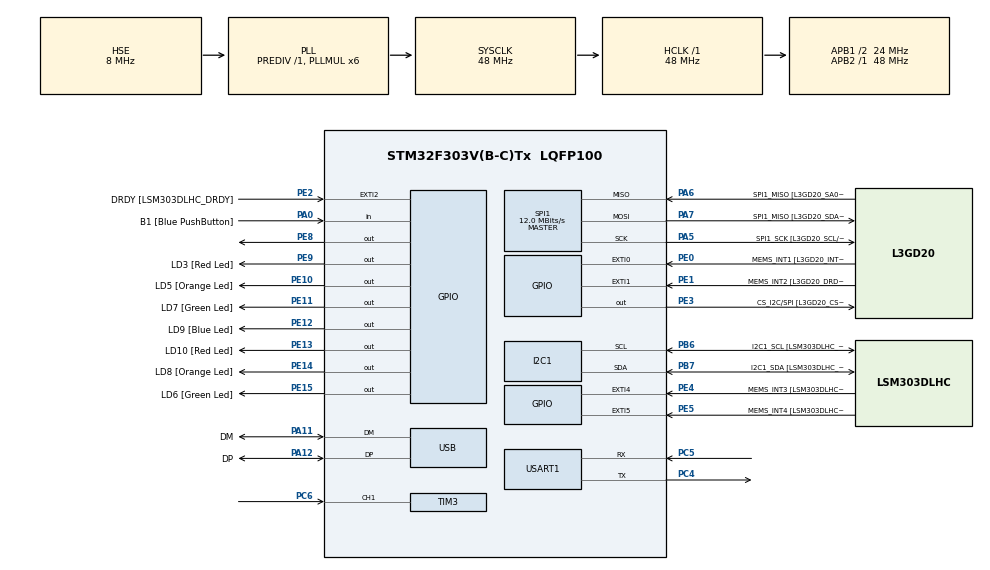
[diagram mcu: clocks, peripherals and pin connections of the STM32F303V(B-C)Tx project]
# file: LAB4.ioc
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I2C1.Timing=0x00201D2B
I2C1.Timing-I2C=0x2000090E
Mcu.Family=STM32F3
Mcu.Name=STM32F303V(B-C)Tx
Mcu.Package=LQFP100
NVIC.PriorityGroup=NVIC_PRIORITYGROUP_0
NVIC.TIM2_IRQn=true\:0\:0\:false\:false\:true\:true\:true\:true
NVIC.TIM3_IRQn=true\:0\:0\:false\:false\:true\:true\:true\:true
PA0.GPIO_Label=B1 [Blue PushButton]
PA0.Signal=GPIO_Input
PA11.GPIO_Label=DM
PA11.Mode=Device
PA11.Signal=USB_DM
PA12.GPIO_Label=DP
PA12.Mode=Device
PA12.Signal=USB_DP
PA13.GPIO_Label=SWDIO
PA13.Mode=Serial_Wire
PA13.Signal=SYS_JTMS-SWDIO
PA14.GPIO_Label=SWCLK
PA14.Mode=Serial_Wire
PA14.Signal=SYS_JTCK-SWCLK
PA5.GPIO_Label=SPI1_SCK [L3GD20_SCL/SPC]
PA5.Mode=Full_Duplex_Master
PA5.Signal=SPI1_SCK
PA6.GPIO_Label=SPI1_MISO [L3GD20_SA0/SDO]
PA6.Mode=Full_Duplex_Master
PA6.Signal=SPI1_MISO
PA7.GPIO_Label=SPI1_MISO [L3GD20_SDA/SDI/SDO]
PA7.Mode=Full_Duplex_Master
PA7.Signal=SPI1_MOSI
PB3.GPIO_Label=SWO
PB3.Signal=SYS_JTDO-TRACESWO
PB6.GPIO_Label=I2C1_SCL [LSM303DLHC_SCL]
PB6.GPIO_Pu=GPIO_PULLUP
PB6.Mode=I2C
PB6.Signal=I2C1_SCL
PB7.GPIO_Label=I2C1_SDA [LSM303DLHC_SDA]
PB7.GPIO_Pu=GPIO_PULLUP
PB7.Mode=I2C
PB7.Signal=I2C1_SDA
PC14-OSC32_IN.GPIO_Label=OSC32_IN
PC14-OSC32_IN.Signal=RCC_OSC32_IN
PC15-OSC32_OUT.GPIO_Label=OSC32_OUT
PC15-OSC32_OUT.Signal=RCC_OSC32_OUT
PC4.Mode=Asynchronous
PC4.Signal=USART1_TX
PC5.Mode=Asynchronous
PC5.Signal=USART1_RX
PC6.Signal=S_TIM3_CH1
PE0.GPIO_Label=MEMS_INT1 [L3GD20_INT1]
PE0.GPIO_ModeDefaultEXTI=GPIO_MODE_EVT_RISING
PE0.Signal=GPXTI0
PE1.GPIO_Label=MEMS_INT2 [L3GD20_DRDY/INT2]
PE1.GPIO_ModeDefaultEXTI=GPIO_MODE_EVT_RISING
PE1.Signal=GPXTI1
PE10.GPIO_Label=LD5 [Orange Led]
PE10.Signal=GPIO_Output
PE11.GPIO_Label=LD7 [Green Led]
PE11.Signal=GPIO_Output
PE12.GPIO_Label=LD9 [Blue Led]
PE12.Signal=GPIO_Output
PE13.GPIO_Label=LD10 [Red Led]
PE13.Signal=GPIO_Output
PE14.GPIO_Label=LD8 [Orange Led]
PE14.Signal=GPIO_Output
PE15.GPIO_Label=LD6 [Green Led]
PE15.Signal=GPIO_Output
PE2.GPIO_Label=DRDY [LSM303DLHC_DRDY]
PE2.GPIO_ModeDefaultEXTI=GPIO_MODE_EVT_RISING
PE2.Signal=GPXTI2
PE3.GPIO_Label=CS_I2C/SPI [L3GD20_CS_I2C/SPI]
PE3.Signal=GPIO_Output
PE4.GPIO_Label=MEMS_INT3 [LSM303DLHC_INT1]
PE4.GPIO_ModeDefaultEXTI=GPIO_MODE_EVT_RISING
PE4.Signal=GPXTI4
PE5.GPIO_Label=MEMS_INT4 [LSM303DLHC_INT2]
PE5.GPIO_ModeDefaultEXTI=GPIO_MODE_EVT_RISING
PE5.Signal=GPXTI5
PE8.Signal=GPIO_Output
PE9.GPIO_Label=LD3 [Red Led]
PE9.Signal=GPIO_Output
PF0-OSC_IN.GPIO_Label=OSC_IN
PF0-OSC_IN.Mode=HSE-External-Clock-Source
PF0-OSC_IN.Signal=RCC_OSC_IN
PF1-OSC_OUT.GPIO_Label=OSC_OUT
PF1-OSC_OUT.Signal=RCC_OSC_OUT
ProjectManager.HeapSize=0x200
ProjectManager.StackSize=0x400
ProjectManager.TargetToolchain=CMake
RCC.AHBFreq_Value=48000000
RCC.APB1CLKDivider=RCC_HCLK_DIV2
RCC.APB1Freq_Value=24000000
RCC.APB1TimFreq_Value=48000000
RCC.APB2Freq_Value=48000000
RCC.APB2TimFreq_Value=48000000
RCC.CortexFreq_Value=48000000
RCC.HCLKFreq_Value=48000000
RCC.HSE_VALUE=8000000
RCC.HSI_VALUE=8000000
RCC.LSE_VALUE=32768
RCC.PLLMUL=RCC_PLL_MUL6
RCC.SYSCLKFreq_VALUE=48000000
RCC.SYSCLKSourceVirtual=RCC_SYSCLKSOURCE_PLLCLK
RCC.USBFreq_Value=48000000
SH.S_TIM3_CH1.0=TIM3_CH1,Input_Capture1_from_TI1
SPI1.BaudRatePrescaler=SPI_BAUDRATEPRESCALER_4
SPI1.BaudRatePrescaler-Full_Duplex_Master=SPI_BAUDRATEPRESCALER_2
SPI1.CalculateBaudRate=12.0 MBits/s
SPI1.CalculateBaudRate-Full_Duplex_Master=24.0 MBits/s
SPI1.Direction=SPI_DIRECTION_2LINES
SPI1.Mode=SPI_MODE_MASTER
SPI1.Mode-Full_Duplex_Master=SPI_MODE_MASTER
SPI1.VirtualType=VM_MASTER
TIM2.Period=999
TIM2.Prescaler=47
TIM3.Channel-Input_Capture1_from_TI1=TIM_CHANNEL_1
USART1.VirtualMode-Asynchronous=VM_ASYNC
VP_TIM2_VS_ClockSourceINT.Mode=Internal
board=STM32F3DISCOVERY

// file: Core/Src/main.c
/* USER CODE BEGIN Header */
/**
  ******************************************************************************
  * @file           : main.c
  * @brief          : Main program body
  ******************************************************************************
  * @attention
  *
  * Copyright (c) 2026 STMicroelectronics.
  * All rights reserved.
  *
  * This software is licensed under terms that can be found in the LICENSE file
  * in the root directory of this software component.
  * If no LICENSE file comes with this software, it is provided AS-IS.
  *
  ******************************************************************************
  */
/* USER CODE END Header */
#include "main.h"

/* USER CODE BEGIN Includes */
#include <stdio.h>
#include <stdarg.h>
#include <string.h>
/* USER CODE END Includes */

I2C_HandleTypeDef hi2c1;

SPI_HandleTypeDef hspi1;

TIM_HandleTypeDef htim2;
TIM_HandleTypeDef htim3;

UART_HandleTypeDef huart1;

PCD_HandleTypeDef hpcd_USB_FS;

/* USER CODE BEGIN PV */

uint32_t countA = 0;
uint32_t countB = 0;
uint32_t countC = 0;

uint32_t current_capture = 0;
uint32_t last_capture = 0;
uint32_t period = 0;
uint32_t frequency = 0;
uint8_t is_first_capture = 1;

/* USER CODE END PV */

void SystemClock_Config(void);
static void MX_GPIO_Init(void);
static void MX_I2C1_Init(void);
static void MX_SPI1_Init(void);
static void MX_TIM2_Init(void);
static void MX_USB_PCD_Init(void);
static void MX_TIM3_Init(void);
static void MX_USART1_UART_Init(void);

/* USER CODE BEGIN 0 */
void myPrintf(const char *fmt, ...) {
    char buffer[128];
    va_list args;

    va_start(args, fmt);

    vsnprintf(buffer, sizeof(buffer), fmt, args);
    va_end(args);

    HAL_UART_Transmit(&huart1, (uint8_t*)buffer, strlen(buffer), HAL_MAX_DELAY);
}
/* USER CODE END 0 */

int main(void)
{

  /* MCU Configuration--------------------------------------------------------*/

  /* Reset of all peripherals, Initializes the Flash interface and the Systick. */
  HAL_Init();

  /* Configure the system clock */
  SystemClock_Config();

  /* Initialize all configured peripherals */
  MX_GPIO_Init();
  MX_I2C1_Init();
  MX_SPI1_Init();
  MX_TIM2_Init();
  MX_USB_PCD_Init();
  MX_TIM3_Init();
  MX_USART1_UART_Init();
  /* USER CODE BEGIN 2 */

  // HAL_TIM_Base_Start_IT(&htim2);
  HAL_TIM_IC_Start_IT(&htim3, TIM_CHANNEL_1);
  /* USER CODE END 2 */

  /* Infinite loop */
  /* USER CODE BEGIN WHILE */
  while (1)
  {
    myPrintf("Frequency: %lu Hz | Period: %lu us\r\n", frequency, period);

    HAL_Delay(500);
    /* USER CODE END WHILE */

  }
}

void SystemClock_Config(void)
{
  RCC_OscInitTypeDef RCC_OscInitStruct = {0};
  RCC_ClkInitTypeDef RCC_ClkInitStruct = {0};
  RCC_PeriphCLKInitTypeDef PeriphClkInit = {0};

  /** Initializes the RCC Oscillators according to the specified parameters
  * in the RCC_OscInitTypeDef structure.
  */
  RCC_OscInitStruct.OscillatorType = RCC_OSCILLATORTYPE_HSI|RCC_OSCILLATORTYPE_HSE;
  RCC_OscInitStruct.HSEState = RCC_HSE_BYPASS;
  RCC_OscInitStruct.HSEPredivValue = RCC_HSE_PREDIV_DIV1;
  RCC_OscInitStruct.HSIState = RCC_HSI_ON;
  RCC_OscInitStruct.HSICalibrationValue = RCC_HSICALIBRATION_DEFAULT;
  RCC_OscInitStruct.PLL.PLLState = RCC_PLL_ON;
  RCC_OscInitStruct.PLL.PLLSource = RCC_PLLSOURCE_HSE;
  RCC_OscInitStruct.PLL.PLLMUL = RCC_PLL_MUL6;
  if (HAL_RCC_OscConfig(&RCC_OscInitStruct) != HAL_OK)
  {
    Error_Handler();
  }

  /** Initializes the CPU, AHB and APB buses clocks
  */
  RCC_ClkInitStruct.ClockType = RCC_CLOCKTYPE_HCLK|RCC_CLOCKTYPE_SYSCLK
                              |RCC_CLOCKTYPE_PCLK1|RCC_CLOCKTYPE_PCLK2;
  RCC_ClkInitStruct.SYSCLKSource = RCC_SYSCLKSOURCE_PLLCLK;
  RCC_ClkInitStruct.AHBCLKDivider = RCC_SYSCLK_DIV1;
  RCC_ClkInitStruct.APB1CLKDivider = RCC_HCLK_DIV2;
  RCC_ClkInitStruct.APB2CLKDivider = RCC_HCLK_DIV1;

  if (HAL_RCC_ClockConfig(&RCC_ClkInitStruct, FLASH_LATENCY_1) != HAL_OK)
  {
    Error_Handler();
  }
  PeriphClkInit.PeriphClockSelection = RCC_PERIPHCLK_USB|RCC_PERIPHCLK_USART1
                              |RCC_PERIPHCLK_I2C1;
  PeriphClkInit.Usart1ClockSelection = RCC_USART1CLKSOURCE_PCLK2;
  PeriphClkInit.I2c1ClockSelection = RCC_I2C1CLKSOURCE_HSI;
  PeriphClkInit.USBClockSelection = RCC_USBCLKSOURCE_PLL;
  if (HAL_RCCEx_PeriphCLKConfig(&PeriphClkInit) != HAL_OK)
  {
    Error_Handler();
  }
}

static void MX_I2C1_Init(void)
{

  hi2c1.Instance = I2C1;
  hi2c1.Init.Timing = 0x00201D2B;
  hi2c1.Init.OwnAddress1 = 0;
  hi2c1.Init.AddressingMode = I2C_ADDRESSINGMODE_7BIT;
  hi2c1.Init.DualAddressMode = I2C_DUALADDRESS_DISABLE;
  hi2c1.Init.OwnAddress2 = 0;
  hi2c1.Init.OwnAddress2Masks = I2C_OA2_NOMASK;
  hi2c1.Init.GeneralCallMode = I2C_GENERALCALL_DISABLE;
  hi2c1.Init.NoStretchMode = I2C_NOSTRETCH_DISABLE;
  if (HAL_I2C_Init(&hi2c1) != HAL_OK)
  {
    Error_Handler();
  }

  /** Configure Analogue filter
  */
  if (HAL_I2CEx_ConfigAnalogFilter(&hi2c1, I2C_ANALOGFILTER_ENABLE) != HAL_OK)
  {
    Error_Handler();
  }

  /** Configure Digital filter
  */
  if (HAL_I2CEx_ConfigDigitalFilter(&hi2c1, 0) != HAL_OK)
  {
    Error_Handler();
  }

}

static void MX_SPI1_Init(void)
{

  /* SPI1 parameter configuration*/
  hspi1.Instance = SPI1;
  hspi1.Init.Mode = SPI_MODE_MASTER;
  hspi1.Init.Direction = SPI_DIRECTION_2LINES;
  hspi1.Init.DataSize = SPI_DATASIZE_4BIT;
  hspi1.Init.CLKPolarity = SPI_POLARITY_LOW;
  hspi1.Init.CLKPhase = SPI_PHASE_1EDGE;
  hspi1.Init.NSS = SPI_NSS_SOFT;
  hspi1.Init.BaudRatePrescaler = SPI_BAUDRATEPRESCALER_4;
  hspi1.Init.FirstBit = SPI_FIRSTBIT_MSB;
  hspi1.Init.TIMode = SPI_TIMODE_DISABLE;
  hspi1.Init.CRCCalculation = SPI_CRCCALCULATION_DISABLE;
  hspi1.Init.CRCPolynomial = 7;
  hspi1.Init.CRCLength = SPI_CRC_LENGTH_DATASIZE;
  hspi1.Init.NSSPMode = SPI_NSS_PULSE_ENABLE;
  if (HAL_SPI_Init(&hspi1) != HAL_OK)
  {
    Error_Handler();
  }

}

static void MX_TIM2_Init(void)
{

  TIM_ClockConfigTypeDef sClockSourceConfig = {0};
  TIM_MasterConfigTypeDef sMasterConfig = {0};

  htim2.Instance = TIM2;
  htim2.Init.Prescaler = 47;
  htim2.Init.CounterMode = TIM_COUNTERMODE_UP;
  htim2.Init.Period = 999;
  htim2.Init.ClockDivision = TIM_CLOCKDIVISION_DIV1;
  htim2.Init.AutoReloadPreload = TIM_AUTORELOAD_PRELOAD_DISABLE;
  if (HAL_TIM_Base_Init(&htim2) != HAL_OK)
  {
    Error_Handler();
  }
  sClockSourceConfig.ClockSource = TIM_CLOCKSOURCE_INTERNAL;
  if (HAL_TIM_ConfigClockSource(&htim2, &sClockSourceConfig) != HAL_OK)
  {
    Error_Handler();
  }
  sMasterConfig.MasterOutputTrigger = TIM_TRGO_RESET;
  sMasterConfig.MasterSlaveMode = TIM_MASTERSLAVEMODE_DISABLE;
  if (HAL_TIMEx_MasterConfigSynchronization(&htim2, &sMasterConfig) != HAL_OK)
  {
    Error_Handler();
  }

}

static void MX_TIM3_Init(void)
{

  TIM_MasterConfigTypeDef sMasterConfig = {0};
  TIM_IC_InitTypeDef sConfigIC = {0};

  htim3.Instance = TIM3;
  htim3.Init.Prescaler = 47;
  htim3.Init.CounterMode = TIM_COUNTERMODE_UP;
  htim3.Init.Period = 65535;
  htim3.Init.ClockDivision = TIM_CLOCKDIVISION_DIV1;
  htim3.Init.AutoReloadPreload = TIM_AUTORELOAD_PRELOAD_DISABLE;
  if (HAL_TIM_IC_Init(&htim3) != HAL_OK)
  {
    Error_Handler();
  }
  sMasterConfig.MasterOutputTrigger = TIM_TRGO_RESET;
  sMasterConfig.MasterSlaveMode = TIM_MASTERSLAVEMODE_DISABLE;
  if (HAL_TIMEx_MasterConfigSynchronization(&htim3, &sMasterConfig) != HAL_OK)
  {
    Error_Handler();
  }
  sConfigIC.ICPolarity = TIM_INPUTCHANNELPOLARITY_RISING;
  sConfigIC.ICSelection = TIM_ICSELECTION_DIRECTTI;
  sConfigIC.ICPrescaler = TIM_ICPSC_DIV1;
  sConfigIC.ICFilter = 0;
  if (HAL_TIM_IC_ConfigChannel(&htim3, &sConfigIC, TIM_CHANNEL_1) != HAL_OK)
  {
    Error_Handler();
  }

}

static void MX_USART1_UART_Init(void)
{

  huart1.Instance = USART1;
  huart1.Init.BaudRate = 38400;
  huart1.Init.WordLength = UART_WORDLENGTH_8B;
  huart1.Init.StopBits = UART_STOPBITS_1;
  huart1.Init.Parity = UART_PARITY_NONE;
  huart1.Init.Mode = UART_MODE_TX_RX;
  huart1.Init.HwFlowCtl = UART_HWCONTROL_NONE;
  huart1.Init.OverSampling = UART_OVERSAMPLING_16;
  huart1.Init.OneBitSampling = UART_ONE_BIT_SAMPLE_DISABLE;
  huart1.AdvancedInit.AdvFeatureInit = UART_ADVFEATURE_NO_INIT;
  if (HAL_UART_Init(&huart1) != HAL_OK)
  {
    Error_Handler();
  }

}

static void MX_USB_PCD_Init(void)
{

  hpcd_USB_FS.Instance = USB;
  hpcd_USB_FS.Init.dev_endpoints = 8;
  hpcd_USB_FS.Init.speed = PCD_SPEED_FULL;
  hpcd_USB_FS.Init.phy_itface = PCD_PHY_EMBEDDED;
  hpcd_USB_FS.Init.low_power_enable = DISABLE;
  hpcd_USB_FS.Init.battery_charging_enable = DISABLE;
  if (HAL_PCD_Init(&hpcd_USB_FS) != HAL_OK)
  {
    Error_Handler();
  }

}

static void MX_GPIO_Init(void)
{
  GPIO_InitTypeDef GPIO_InitStruct = {0};

  /* GPIO Ports Clock Enable */
  __HAL_RCC_GPIOE_CLK_ENABLE();
  __HAL_RCC_GPIOC_CLK_ENABLE();
  __HAL_RCC_GPIOF_CLK_ENABLE();
  __HAL_RCC_GPIOA_CLK_ENABLE();
  __HAL_RCC_GPIOB_CLK_ENABLE();

  /*Configure GPIO pin Output Level */
  HAL_GPIO_WritePin(GPIOE, CS_I2C_SPI_Pin|GPIO_PIN_8|LD3_Pin|LD5_Pin
                          |LD7_Pin|LD9_Pin|LD10_Pin|LD8_Pin
                          |LD6_Pin, GPIO_PIN_RESET);

  /*Configure GPIO pins : DRDY_Pin MEMS_INT3_Pin MEMS_INT4_Pin MEMS_INT1_Pin
                           MEMS_INT2_Pin */
  GPIO_InitStruct.Pin = DRDY_Pin|MEMS_INT3_Pin|MEMS_INT4_Pin|MEMS_INT1_Pin
                          |MEMS_INT2_Pin;
  GPIO_InitStruct.Mode = GPIO_MODE_EVT_RISING;
  GPIO_InitStruct.Pull = GPIO_NOPULL;
  HAL_GPIO_Init(GPIOE, &GPIO_InitStruct);

  /*Configure GPIO pins : CS_I2C_SPI_Pin PE8 LD3_Pin LD5_Pin
                           LD7_Pin LD9_Pin LD10_Pin LD8_Pin
                           LD6_Pin */
  GPIO_InitStruct.Pin = CS_I2C_SPI_Pin|GPIO_PIN_8|LD3_Pin|LD5_Pin
                          |LD7_Pin|LD9_Pin|LD10_Pin|LD8_Pin
                          |LD6_Pin;
  GPIO_InitStruct.Mode = GPIO_MODE_OUTPUT_PP;
  GPIO_InitStruct.Pull = GPIO_NOPULL;
  GPIO_InitStruct.Speed = GPIO_SPEED_FREQ_LOW;
  HAL_GPIO_Init(GPIOE, &GPIO_InitStruct);

  /*Configure GPIO pin : B1_Pin */
  GPIO_InitStruct.Pin = B1_Pin;
  GPIO_InitStruct.Mode = GPIO_MODE_INPUT;
  GPIO_InitStruct.Pull = GPIO_NOPULL;
  HAL_GPIO_Init(B1_GPIO_Port, &GPIO_InitStruct);

}

/* USER CODE BEGIN 4 */

// Task2:
//   void HAL_TIM_PeriodElapsedCallback(TIM_HandleTypeDef *htim){
//     if (htim->Instance == TIM2) {
//         HAL_GPIO_TogglePin(GPIOE, GPIO_PIN_8);
//     }
// }

// Task 3:
// void HAL_TIM_PeriodElapsedCallback(TIM_HandleTypeDef *htim) {
//     if (htim->Instance == TIM2) {
//         countA++;
//         countB++;
//         countC++;

//         if (countA >= 500) {
//             HAL_GPIO_TogglePin(GPIOE, GPIO_PIN_8);
//             countA = 0;
//         }

//         if (countB >= 200) {
//             HAL_GPIO_TogglePin(GPIOE, GPIO_PIN_9);
//             countB = 0;
//         }

//         if (countC >= 100) {
//             HAL_GPIO_TogglePin(GPIOE, GPIO_PIN_10);
//             countC = 0;
//         }
//     }
// }

// Task 4:
void HAL_TIM_IC_CaptureCallback(TIM_HandleTypeDef *htim) {
    if (htim->Instance == TIM3 && htim->Channel == HAL_TIM_ACTIVE_CHANNEL_1) {

        current_capture = HAL_TIM_ReadCapturedValue(htim, TIM_CHANNEL_1);

        if (is_first_capture) {
            last_capture = current_capture;
            is_first_capture = 0;
        } else {
            if (current_capture >= last_capture) {
                period = current_capture - last_capture;
            } else {
                period = (0xFFFF - last_capture) + current_capture + 1;
            }

            if (period != 0) {
                frequency = 1000000 / period;
            }

            last_capture = current_capture;
        }
    }
}
/* USER CODE END 4 */

void Error_Handler(void)
{
  __disable_irq();
  while (1)
  {
  }
}
